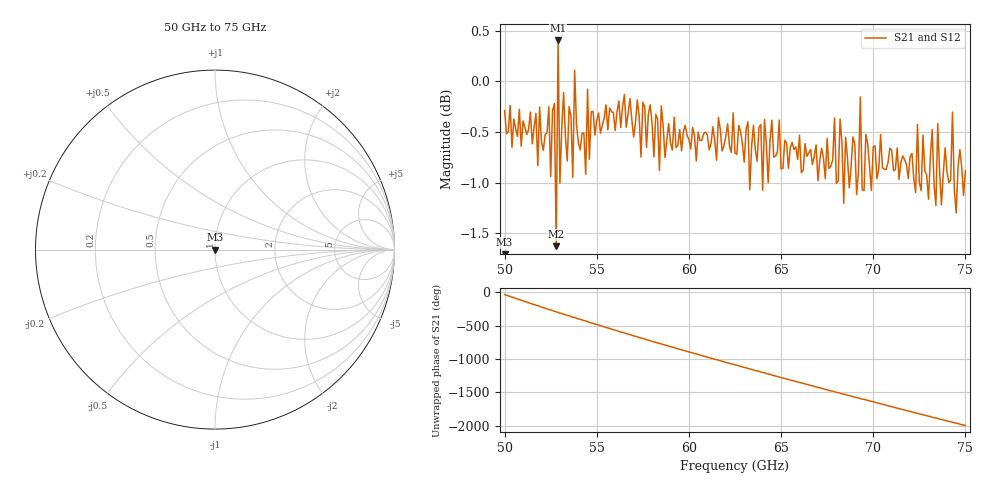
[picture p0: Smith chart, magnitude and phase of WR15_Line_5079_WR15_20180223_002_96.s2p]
# GHZ S RI R 50
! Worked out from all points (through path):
!   251 points, 50 GHz to 75 GHz, reference 50 ohm
!   highest |S21| = 0.40 dB at 52.9 GHz (marker M1); lowest = -1.6 dB at 52.8 GHz (marker M2)
!   lowest |S11| = - dB at 50 GHz (marker M3), VSWR 1.00, Z = 50 - j4.34e-16 ohm
!   |S11| at or under -10 dB: start of sweep to end of sweep
!   |S22| runs from - to - dB; largest |S21 - S12| = 2.2e-15
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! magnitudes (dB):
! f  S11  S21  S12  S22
! 50 GHz  -  -0.3  -0.3  -
! 51.8 GHz  -  -0.8  -0.8  -
! 52.4 GHz  -  -0.2  -0.2  -
! 52.5 GHz  -  -0.9  -0.9  -
! 52.7 GHz  -  -0.2  -0.2  -
! 52.8 GHz  -  -1.6  -1.6  -
! 52.9 GHz  -  0.4  0.4  -
! 53 GHz  -  -1.0  -1.0  -
! 53.2 GHz  -  -0.1  -0.1  -
! 53.7 GHz  -  -0.9  -0.9  -
! 53.8 GHz  -  0.1  0.1  -
! 54.2 GHz  -  -0.5  -0.5  -
! 57.9 GHz  -  -0.2  -0.2  -
! 58.4 GHz  -  -0.9  -0.9  -
! 58.5 GHz  -  -0.2  -0.2  -
! 62.5 GHz  -  -0.7  -0.7  -
! 66.7 GHz  -  -0.8  -0.8  -
! 69.1 GHz  -  -1.1  -1.1  -
! 69.3 GHz  -  -0.2  -0.2  -
! 69.4 GHz  -  -1.1  -1.1  -
! 70.9 GHz  -  -0.7  -0.7  -
! 75 GHz  -  -0.9  -0.9  -
